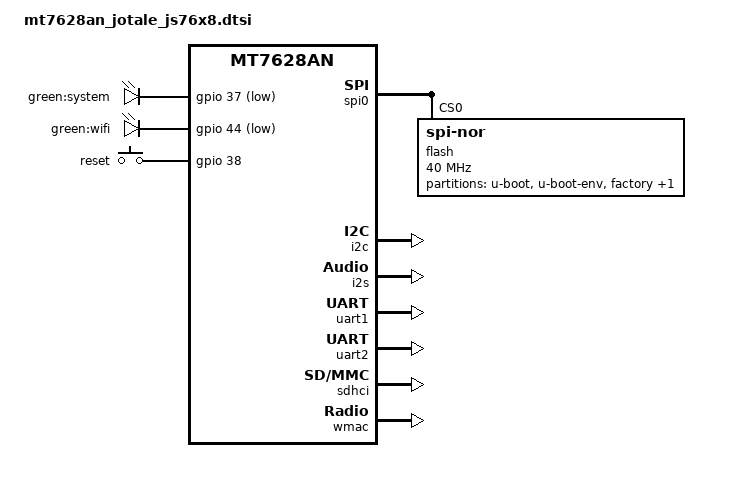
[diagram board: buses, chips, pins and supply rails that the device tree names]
// SPDX-License-Identifier: GPL-2.0-or-later OR MIT

#include "mt7628an.dtsi"

#include <dt-bindings/gpio/gpio.h>
#include <dt-bindings/input/input.h>

/ {
	compatible = "jotale,js76x8", "mediatek,mt7628an-soc";

	aliases {
		led-boot = &led_system;
		led-failsafe = &led_system;
		led-running = &led_system;
		led-upgrade = &led_system;
	};

	chosen {
		bootargs = "console=ttyS0,115200";
	};

	leds {
		compatible = "gpio-leds";

		led_system: system {
			label = "green:system";
			gpios = <&gpio 37 GPIO_ACTIVE_LOW>;
		};

		wifi {
			label = "green:wifi";
			gpios = <&gpio 44 GPIO_ACTIVE_LOW>;
			linux,default-trigger = "phy0tpt";
		};
	};

	keys {
		compatible = "gpio-keys";

		reset {
			label = "reset";
			gpios = <&gpio 38 GPIO_ACTIVE_HIGH>;
			linux,code = <KEY_RESTART>;
		};
	};
};

&state_default {
	gpio {
		groups = "refclk", "wdt", "wled_an";
		function = "gpio";
	};
};

&spi0 {
	status = "okay";

	pinctrl-names = "default";
	pinctrl-0 = <&spi_pins>, <&spi_cs1_pins>;

	flash@0 {
		compatible = "jedec,spi-nor";
		reg = <0>;
		spi-max-frequency = <40000000>;

		partitions {
			compatible = "fixed-partitions";
			#address-cells = <1>;
			#size-cells = <1>;

			partition@0 {
				label = "u-boot";
				reg = <0x0 0x30000>;
				read-only;
			};

			partition@30000 {
				label = "u-boot-env";
				reg = <0x30000 0x10000>;
				read-only;
			};

			factory: partition@40000 {
				label = "factory";
				reg = <0x40000 0x10000>;
				read-only;
			};

			firmware: partition@50000 {
				compatible = "denx,uimage";
				label = "firmware";
				/* reg property is set based on flash size in DTS files */
			};
		};
	};
};

&i2c {
	status = "okay";
};

&i2s {
	status = "okay";
};

&uart1 {
	status = "okay";
};

&uart2 {
	status = "okay";
};

&ethernet {
	mtd-mac-address = <&factory 0x28>;
};

&sdhci {
	status = "okay";
	mediatek,cd-low;
};

&wmac {
	status = "okay";
};
